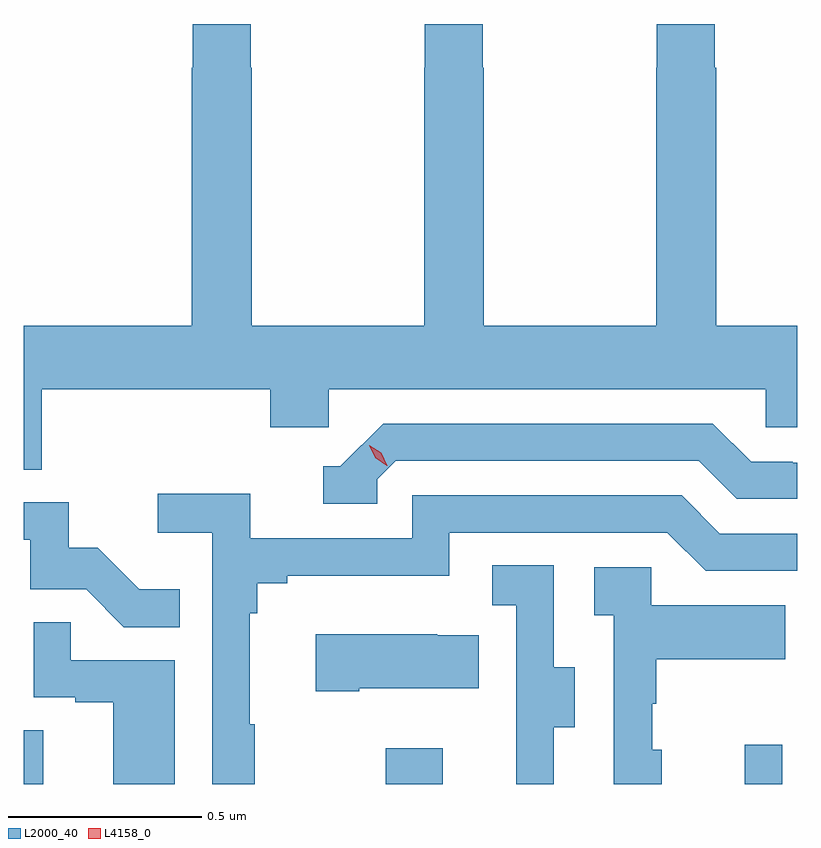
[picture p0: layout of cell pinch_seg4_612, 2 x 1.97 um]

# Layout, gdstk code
import gdstk
lib = gdstk.Library(unit=1e-6, precision=1e-09)
def R(c, l, rs):  # rectangles x0, y0, x1, y1
    for r in rs: c.add(gdstk.rectangle(r[:2], r[2:], *l))
def P(c, l, *ps):  # polygons
    for p in ps: c.add(gdstk.Polygon(p, *l))
L2000_40 = (2000, 40)
L4158_0 = (4158, 0)

pinch_seg4_612 = lib.new_cell('pinch_seg4_612')
R(pinch_seg4_612, L2000_40, [(1022.698,774.487,1022.749,774.626), (1023.634,774.487,1023.781,774.58), (1024.562,774.487,1024.659,774.589)])
P(pinch_seg4_612, L2000_40, [(1022.698,775.3),(1022.744,775.3),(1022.744,775.508),(1023.335,775.508),(1023.335,775.41),(1023.486,775.41),(1023.486,775.508),(1024.617,775.508),(1024.617,775.41),(1024.698,775.41),(1024.698,775.672),(1024.488,775.672),(1024.488,776.339),(1024.485,776.339),(1024.485,776.452),(1024.335,776.452),(1024.335,776.339),(1024.333,776.339),(1024.333,775.672),(1023.888,775.672),(1023.888,776.339),(1023.885,776.339),(1023.885,776.452),(1023.735,776.452),(1023.735,776.339),(1023.733,776.339),(1023.733,775.672),(1023.288,775.672),(1023.288,776.339),(1023.285,776.339),(1023.285,776.452),(1023.135,776.452),(1023.135,776.339),(1023.133,776.339),(1023.133,775.672),(1022.698,775.672)],
  [(1023.612,775.275),(1023.66,775.323),(1024.443,775.323),(1024.542,775.224),(1024.698,775.224),(1024.698,775.317),(1024.686,775.317),(1024.686,775.32),(1024.579,775.32),(1024.48,775.419),(1023.627,775.419),(1023.516,775.308),(1023.473,775.308),(1023.473,775.212),(1023.612,775.212)],
  [(1023.295,774.641),(1023.283,774.641),(1023.283,774.929),(1023.302,774.929),(1023.302,775.006),(1023.379,775.006),(1023.379,775.025),(1023.798,775.025),(1023.798,775.137),(1024.362,775.137),(1024.461,775.038),(1024.698,775.038),(1024.698,775.134),(1024.498,775.134),(1024.399,775.233),(1023.702,775.233),(1023.702,775.122),(1023.284,775.122),(1023.284,775.238),(1023.045,775.238),(1023.045,775.136),(1023.186,775.136),(1023.186,774.487),(1023.295,774.487)],
  [(1023.101,774.991),(1022.997,774.991),(1022.89,775.098),(1022.814,775.098),(1022.814,775.215),(1022.698,775.215),(1022.698,775.119),(1022.715,775.119),(1022.715,774.99),(1022.859,774.99),(1022.957,774.892),(1023.101,774.892)],
  [(1024.069,774.634),(1024.123,774.634),(1024.123,774.789),(1024.068,774.789),(1024.068,775.052),(1023.909,775.052),(1023.909,774.949),(1023.972,774.949),(1023.972,774.645),(1023.971,774.645),(1023.971,774.487),(1024.069,774.487)],
  [(1024.348,774.576),(1024.323,774.576),(1024.323,774.695),(1024.333,774.695),(1024.333,774.809),(1024.667,774.809),(1024.667,774.949),(1024.32,774.949),(1024.32,775.047),(1024.173,775.047),(1024.173,774.923),(1024.224,774.923),(1024.224,774.487),(1024.348,774.487)],
  [(1023.088,774.807),(1022.819,774.807),(1022.819,774.905),(1022.724,774.905),(1022.724,774.711),(1022.831,774.711),(1022.831,774.699),(1022.93,774.699),(1022.93,774.487),(1023.088,774.487)],
  [(1023.565,774.734),(1023.875,774.734),(1023.875,774.871),(1023.767,774.871),(1023.767,774.874),(1023.453,774.874),(1023.453,774.727),(1023.565,774.727)])
P(pinch_seg4_612, L4158_0, [(1023.637,775.31),(1023.607,775.33),(1023.591,775.363),(1023.591,775.363),(1023.591,775.363),(1023.622,775.343),(1023.638,775.31),(1023.638,775.31)])

lib.write_gds('pinch_seg4_612.gds')
